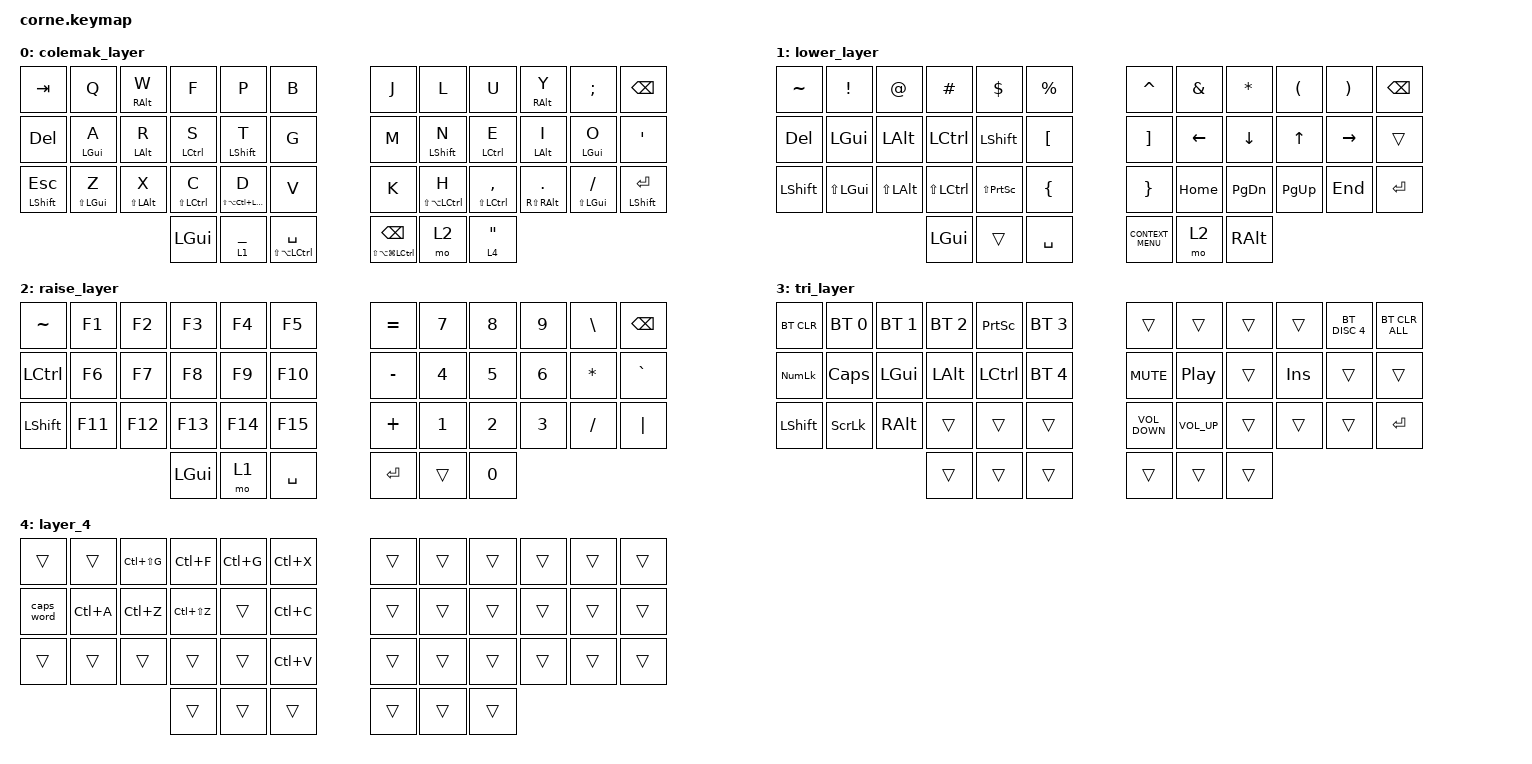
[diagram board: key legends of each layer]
/*
 * Copyright (c) 2020 The ZMK Contributors
 *
 * SPDX-License-Identifier: MIT
 */

#include <behaviors.dtsi>
#include <dt-bindings/zmk/bt.h>
#include <dt-bindings/zmk/keys.h>

&lt {
    flavor = "hold-preferred";
    tapping-term-ms = <170>;
};

/ {
    behaviors {
        hrmr: hrmr {
            compatible = "zmk,behavior-hold-tap";
            label = "HRMR";
            bindings = <&kp>, <&kp>;

            #binding-cells = <2>;
            tapping-term-ms = <220>;
            quick-tap-ms = <175>;
            require-prior-idle-ms = <125>;
            flavor = "balanced";
            hold-trigger-on-release;
            hold-trigger-key-positions = <39 40 41 0 1 2 3 4 5 12 13 14 15 16 17 24 25 26 27 28 29 36 37 38>;
        };

        hrml: hrml {
            compatible = "zmk,behavior-hold-tap";
            label = "HRML";
            bindings = <&kp>, <&kp>;

            #binding-cells = <2>;
            tapping-term-ms = <220>;
            quick-tap-ms = <175>;
            require-prior-idle-ms = <125>;
            flavor = "balanced";
            hold-trigger-key-positions = <36 37 38 6 7 8 9 10 11 18 19 20 21 22 23 30 31 32 33 34 35 39 40 41>;
            hold-trigger-on-release;
        };

        tmtl: tmtl {
            compatible = "zmk,behavior-hold-tap";
            label = "TMTL";
            bindings = <&kp>, <&kp>;

            #binding-cells = <2>;
            tapping-term-ms = <280>;
            quick-tap-ms = <175>;
            require-prior-idle-ms = <125>;
            flavor = "hold-preferred";
            retro-tap;
            hold-trigger-key-positions = <36 37 38 39 40 41>;
            hold-trigger-on-release;
        };

        tmtr: tmtr {
            compatible = "zmk,behavior-hold-tap";
            label = "TMTR";
            bindings = <&kp>, <&kp>;

            #binding-cells = <2>;
            tapping-term-ms = <280>;
            quick-tap-ms = <175>;
            require-prior-idle-ms = <125>;
            flavor = "hold-preferred";
            hold-trigger-key-positions = <39 40 41 36 37 38>;
            retro-tap;
            hold-trigger-on-release;
        };

        ltl: ltl {
            compatible = "zmk,behavior-hold-tap";
            label = "LTL";
            #binding-cells = <2>;
            tapping-term-ms = <280>;
            quick-tap-ms = <175>;
            require-prior-idle-ms = <(-1)>;
            flavor = "hold-preferred";
            hold-trigger-key-positions = <39 40 41 36 37 38>;
            retro-tap;
            bindings = <&mt>, <&kp>;
        };
    };

    combos {
        compatible = "zmk,combos";

        combos_shutdown {
            bindings = <&kp C_POWER>;
            key-positions = <0 11>;
            layers = <0>;
            require-prior-idle-ms = <150>;
            timeout-ms = <35>;
        };

        all {
            bindings = <&kp LC(A)>;
            key-positions = <13 14>;
            layers = <0>;
            timeout-ms = <18>;
            require-prior-idle-ms = <150>;
        };

        copy {
            bindings = <&kp LC(C)>;
            key-positions = <26 27>;
            layers = <0>;
            timeout-ms = <18>;
            require-prior-idle-ms = <150>;
        };

        paste {
            bindings = <&kp LC(V)>;
            key-positions = <27 28>;
            layers = <0>;
            timeout-ms = <18>;
            require-prior-idle-ms = <150>;
        };

        cut {
            bindings = <&kp LC(X)>;
            key-positions = <25 26>;
            layers = <0>;
            timeout-ms = <18>;
            require-prior-idle-ms = <150>;
        };

        undo {
            bindings = <&kp LC(Z)>;
            key-positions = <24 25>;
            layers = <0>;
            timeout-ms = <18>;
            require-prior-idle-ms = <150>;
        };

        toggle_functions {
            bindings = <&tog 2>;
            key-positions = <4 5>;
            layers = <0 1 2 3>;
            timeout-ms = <18>;
            require-prior-idle-ms = <150>;
        };

        combo_close {
            bindings = <&kp LC(W)>;
            key-positions = <3 2>;
            timeout-ms = <18>;
            require-prior-idle-ms = <150>;
            layers = <0>;
        };

        combo_quit {
            bindings = <&kp LC(Q)>;
            key-positions = <2 1>;
            timeout-ms = <18>;
            require-prior-idle-ms = <150>;
            layers = <0>;
        };

        combo_return {
            bindings = <&kp RETURN>;
            key-positions = <38 37>;
            timeout-ms = <35>;
            require-prior-idle-ms = <150>;
        };
    };

    keymap {
        compatible = "zmk,keymap";

        colemak_layer {
            // -----------------------------------------------------------------------------------------
            // |  TAB |  Q  |  W  |  E  |  R  |  T  |   |  Y  |  U   |  I  |  O  |  P  | BKSP |
            // | CTRL |  A  |  S  |  D  |  F  |  G  |   |  H  |  J   |  K  |  L  |  ;  |  '   |
            // | SHFT |  Z  |  X  |  C  |  V  |  B  |   |  N  |  M   |  ,  |  .  |  /  | ESC  |
            //                    | GUI | LWR | SPC |   | ENT | RSE  | ALT |

            bindings = <
&kp TAB           &kp Q             &hrml RIGHT_ALT W     &kp F              &kp P                         &kp B                        &kp J                              &kp L                  &kp U                  &hrmr RIGHT_ALT Y        &kp SEMICOLON             &kp BSPC
&kp DELETE        &hrml LGUI A      &hrml LEFT_ALT R      &hrml LCTRL S      &hrml LSHIFT T                &kp G                        &kp M                              &hrmr LEFT_SHIFT N     &hrmr LCTRL E          &hrmr LEFT_ALT I         &hrmr LGUI O              &kp SQT
&mt LSHFT ESCAPE  &hrml LS(LGUI) Z  &hrml LS(LEFT_ALT) X  &hrml LS(LCTRL) C  &hrml LS(LA(LC(LEFT_GUI))) D  &kp V                        &kp K                              &hrmr LS(LA(LCTRL)) H  &hrmr LS(LCTRL) COMMA  &hrmr RS(RIGHT_ALT) DOT  &hrmr LS(LEFT_GUI) SLASH  &mt LEFT_SHIFT RET
                                                          &kp LGUI           &lt 1 UNDER                   &tmtl LS(LA(LCTRL)) SPACE    &tmtr LS(LA(LG(LCTRL))) BACKSPACE  &mo 2                  &lt 4 DOUBLE_QUOTES
            >;
        };

        lower_layer {
            // -----------------------------------------------------------------------------------------
            // |  TAB |  1  |  2  |  3  |  4  |  5  |   |  6  |  7  |  8  |  9  |  0  | BKSP |
            // | BTCLR| BT1 | BT2 | BT3 | BT4 | BT5 |   | LFT | DWN |  UP | RGT |     |      |
            // | SHFT |     |     |     |     |     |   |     |     |     |     |     |      |
            //                    | GUI |     | SPC |   | ENT |     | ALT |

            bindings = <
&kp TILDE   &kp EXCLAMATION   &kp AT_SIGN       &kp HASH          &kp DOLLAR           &kp PERCENT         &kp CARET           &kp AMPERSAND   &kp ASTERISK    &kp LEFT_PARENTHESIS  &kp RIGHT_PARENTHESIS  &kp BSPC
&kp DELETE  &kp LEFT_GUI      &kp LEFT_ALT      &kp LEFT_CONTROL  &kp LSHIFT           &kp LEFT_BRACKET    &kp RIGHT_BRACKET   &kp LEFT_ARROW  &kp DOWN_ARROW  &kp UP_ARROW          &kp RIGHT              &trans
&kp LSHFT   &kp LS(LEFT_GUI)  &kp LS(LEFT_ALT)  &kp LS(LCTRL)     &kp LS(PRINTSCREEN)  &kp LEFT_BRACE      &kp RIGHT_BRACE     &kp HOME        &kp PAGE_DOWN   &kp PAGE_UP           &kp END                &kp RETURN
                                                &kp LGUI          &trans               &kp SPACE           &kp K_CONTEXT_MENU  &mo 2           &kp RALT
            >;
        };

        raise_layer {
            // -----------------------------------------------------------------------------------------
            // |  TAB |  !  |  @  |  #  |  $  |  %  |   |  ^  |  &  |  *  |  (  |  )  | BKSP |
            // | CTRL |     |     |     |     |     |   |  -  |  =  |  [  |  ]  |  \  |  `   |
            // | SHFT |     |     |     |     |     |   |  _  |  +  |  {  |  }  | "|" |  ~   |
            //                    | GUI |     | SPC |   | ENT |     | ALT |

            bindings = <
&kp TILDE       &kp F1   &kp F2   &kp F3    &kp F4   &kp F5       &kp EQUAL  &kp N7        &kp N8        &kp N9        &kp BACKSLASH  &kp BACKSPACE
&kp LCTRL       &kp F6   &kp F7   &kp F8    &kp F9   &kp F10      &kp MINUS  &kp NUMBER_4  &kp N5        &kp NUMBER_6  &kp ASTERISK   &kp GRAVE
&kp LEFT_SHIFT  &kp F11  &kp F12  &kp F13   &kp F14  &kp F15      &kp PLUS   &kp NUMBER_1  &kp NUMBER_2  &kp NUMBER_3  &kp SLASH      &kp PIPE
                                  &kp LGUI  &mo 1    &kp SPACE    &kp RET    &trans        &kp NUMBER_0
            >;
        };

        tri_layer {
            bindings = <
&bt BT_CLR      &bt BT_SEL 0    &bt BT_SEL 1   &bt BT_SEL 2  &kp PRINTSCREEN  &bt BT_SEL 3    &trans             &trans            &trans  &trans   &bt BT_DISC 4  &bt BT_CLR_ALL
&kp KP_NUM      &kp CAPSLOCK    &kp LEFT_GUI   &kp LEFT_ALT  &kp LCTRL        &bt BT_SEL 4    &kp C_MUTE         &kp C_PLAY_PAUSE  &trans  &kp INS  &trans         &trans
&kp LEFT_SHIFT  &kp SCROLLLOCK  &kp RIGHT_ALT  &trans        &trans           &trans          &kp C_VOLUME_DOWN  &kp C_VOLUME_UP   &trans  &trans   &trans         &kp RETURN
                                               &trans        &trans           &trans          &trans             &trans            &trans
            >;
        };

        layer_4 {
            bindings = <
&trans      &trans     &kp LC(LS(G))  &kp LC(F)      &kp LC(G)  &kp LC(X)    &trans  &trans  &trans  &trans  &trans  &trans
&caps_word  &kp LC(A)  &kp LC(Z)      &kp LC(LS(Z))  &trans     &kp LC(C)    &trans  &trans  &trans  &trans  &trans  &trans
&trans      &trans     &trans         &trans         &trans     &kp LC(V)    &trans  &trans  &trans  &trans  &trans  &trans
                                      &trans         &trans     &trans       &trans  &trans  &trans
            >;
        };
    };

    conditional_layers {
        compatible = "zmk,conditional-layers";

        tri_layer {
            if-layers = <1 2>;
            then-layer = <3>;
        };
    };
};
